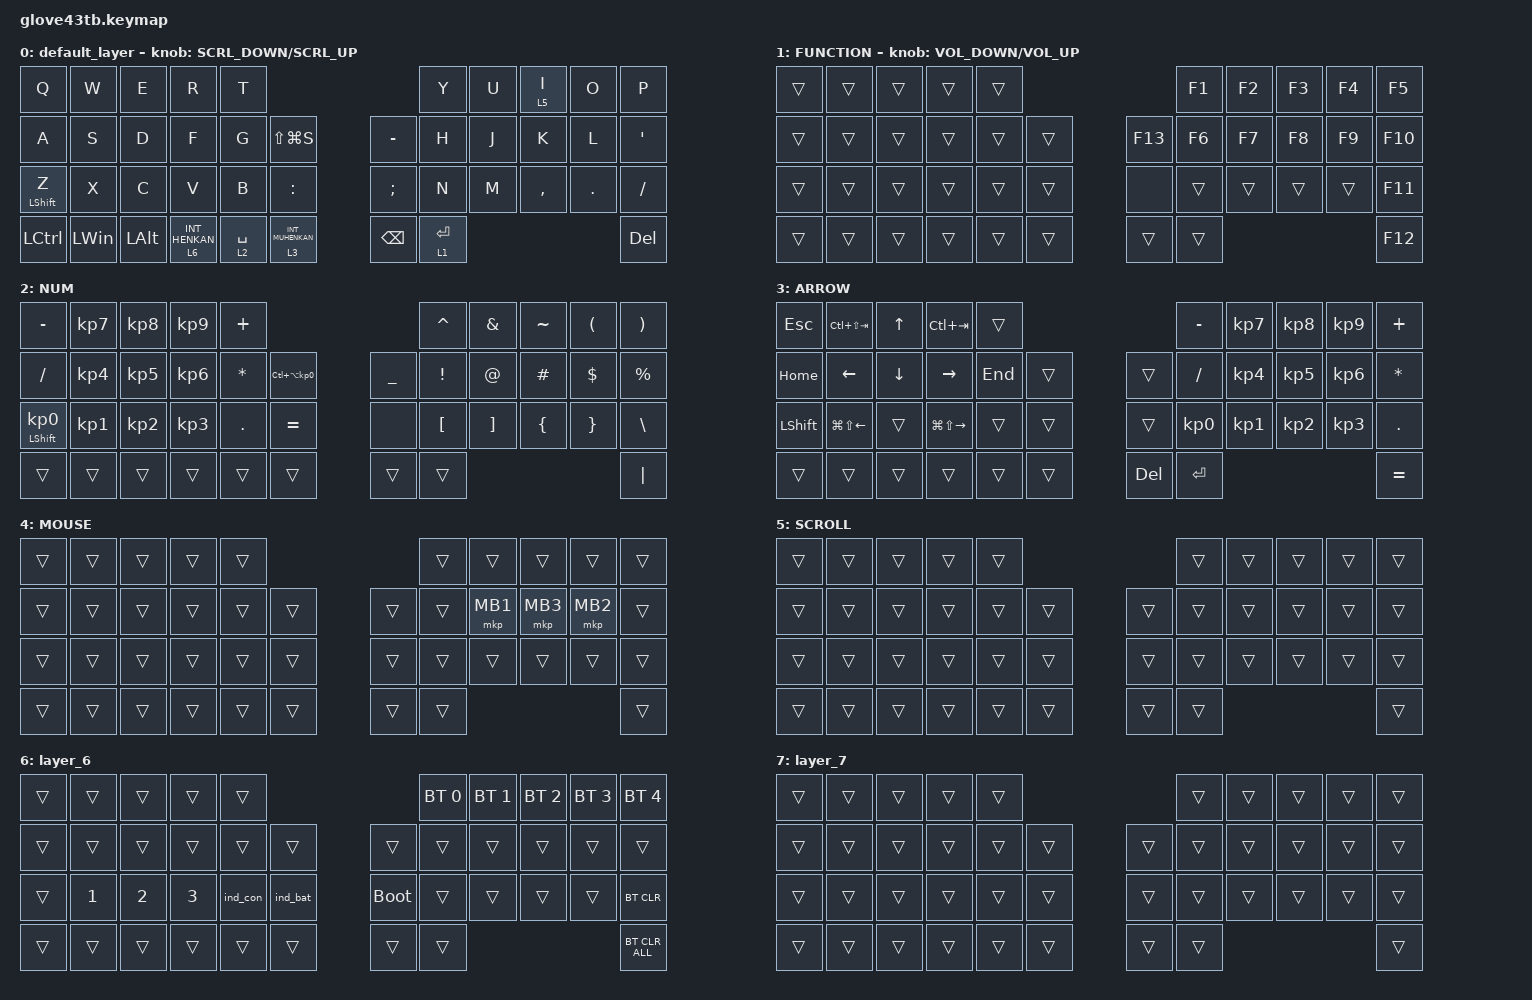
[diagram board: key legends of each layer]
#define ZMK_POINTING_DEFAULT_SCRL_VAL 150

#include <behaviors/rgbled_widget.dtsi>
#include <dt-bindings/zmk/input_transform.h>
#include <input/processors.dtsi>
#include <zephyr/dt-bindings/input/input-event-codes.h>
#include <behaviors.dtsi>
#include <dt-bindings/zmk/bt.h>
#include <dt-bindings/zmk/keys.h>
#include <dt-bindings/zmk/pointing.h>

&mt {
    flavor = "balanced";
    quick-tap-ms = <0>;
};

&trackball {
    automouse-layer = <4>;
    scroll-layers = <5>;

    // arrows {
    //     layers = <3>;
    //     bindings =
    //         <&kp RIGHT_ARROW>,
    //         <&kp LEFT_ARROW>,
    //         <&kp UP_ARROW>,
    //         <&kp DOWN_ARROW>;
    //     tick = <10>;
    //     wait-ms = <5>;
    //     tap-ms = <5>;
    // };
};

&mmv {
    delay-ms = <20>;
    trigger-period-ms = <5>;
    time-to-max-speed-ms = <100>;
    acceleration-exponent = <2>;
};

&msc {
    delay-ms = <3>;
    trigger-period-ms = <3>;
    time-to-max-speed-ms = <100>;
    acceleration-exponent = <0>;
};

/ {
    input_processors {
        zip_wheel_scaler: zip_wheel_scaler {
            compatible = "zmk,input-processor-scaler";
            #input-processor-cells = <2>;
            type = <INPUT_EV_REL>;
            codes = <INPUT_REL_WHEEL>;
            track-remainders;
        };
    };
};

/ {
    combos {
        compatible = "zmk,combos";

        tab {
            bindings = <&kp TAB>;
            key-positions = <11 12>;
        };

        shift_tab {
            bindings = <&kp LS(TAB)>;
            key-positions = <12 13>;
        };

        muhennkann {
            bindings = <&to_layer_0 INT_MUHENKAN>;
            key-positions = <11 10>;
        };

        double_quotation {
            bindings = <&kp DOUBLE_QUOTES>;
            key-positions = <20 21>;
        };

        eq {
            bindings = <&kp EQUAL>;
            key-positions = <24 25>;
        };
    };

    macros {
        to_layer_0: to_layer_0 {
            compatible = "zmk,behavior-macro-one-param";
            #binding-cells = <1>;
            bindings = <&to 0 &macro_param_1to1 &kp MACRO_PLACEHOLDER>;
            label = "TO_LAYER_0";
        };
    };

    behaviors {
        lt_to_layer_0: lt_to_layer_0 {
            compatible = "zmk,behavior-hold-tap";
            label = "LAYER_TAP_TO_0";
            bindings = <&mo>, <&to_layer_0>;

            #binding-cells = <2>;
            tapping-term-ms = <200>;
        };

        sensor_rotate_kp: sensor_rotate_kp {
            compatible = "zmk,behavior-sensor-rotate-var";
            #sensor-binding-cells = <2>;
            bindings = <&kp>, <&kp>;
        };

        mouse_wheel_scroll: mouse_wheel_scroll {
            compatible = "zmk,behavior-sensor-rotate-var";
            #sensor-binding-cells = <2>;
            bindings = <&msc>, <&msc>;

            tap-ms = <20>;
        };
    };

    keymap {
        compatible = "zmk,keymap";

        default_layer {
            bindings = <
&kp Q             &kp W         &kp E         &kp R                        &kp T                                                          &kp Y        &kp U  &lt 5 I    &kp O    &kp P
&kp A             &kp S         &kp D         &kp F                        &kp G        &kp LS(LG(S))                      &kp MINUS      &kp H        &kp J  &kp K      &kp L    &kp SQT
&mt LEFT_SHIFT Z  &kp X         &kp C         &kp V                        &kp B        &kp COLON                          &kp SEMICOLON  &kp N        &kp M  &kp COMMA  &kp DOT  &kp SLASH
&kp LCTRL         &kp LEFT_WIN  &kp LEFT_ALT  &lt_to_layer_0 6 INT_HENKAN  &lt 2 SPACE  &lt_to_layer_0 3 INT_MUHENKAN      &kp BACKSPACE  &lt 1 ENTER                             &kp DEL
            >;

            sensor-bindings = <&mouse_wheel_scroll SCRL_DOWN SCRL_UP>;
        };

        FUNCTION {
            bindings = <
&trans  &trans  &trans  &trans  &trans                       &kp F1  &kp F2  &kp F3  &kp F4  &kp F5
&trans  &trans  &trans  &trans  &trans  &trans      &kp F13  &kp F6  &kp F7  &kp F8  &kp F9  &kp F10
&trans  &trans  &trans  &trans  &trans  &trans      &none    &trans  &trans  &trans  &trans  &kp F11
&trans  &trans  &trans  &trans  &trans  &trans      &trans   &trans                          &kp F12
            >;

            sensor-bindings = <&sensor_rotate_kp C_VOLUME_DOWN C_VOLUME_UP>;
        };

        NUM {
            bindings = <
&kp MINUS                   &kp KP_NUMBER_7  &kp KP_NUMBER_8  &kp KP_NUMBER_9  &kp PLUS                                                   &kp CARET         &kp AMPERSAND      &kp TILDE       &kp LEFT_PARENTHESIS  &kp RIGHT_PARENTHESIS
&kp SLASH                   &kp KP_NUMBER_4  &kp KP_NUMBER_5  &kp KP_NUMBER_6  &kp ASTERISK  &kp LC(LA(KP_NUMBER_0))      &kp UNDERSCORE  &kp EXCLAMATION   &kp AT_SIGN        &kp HASH        &kp DOLLAR            &kp PERCENT
&mt LEFT_SHIFT KP_NUMBER_0  &kp KP_NUMBER_1  &kp KP_NUMBER_2  &kp KP_NUMBER_3  &kp PERIOD    &kp EQUAL                    &none           &kp LEFT_BRACKET  &kp RIGHT_BRACKET  &kp LEFT_BRACE  &kp RIGHT_BRACE       &kp BACKSLASH
&trans                      &trans           &trans           &trans           &trans        &trans                       &trans          &trans                                                                     &kp PIPE
            >;
        };

        ARROW {
            bindings = <
&kp ESCAPE      &kp LC(LS(TAB))         &kp UP_ARROW    &kp LC(TAB)              &trans                        &kp MINUS        &kp KP_NUMBER_7  &kp KP_NUMBER_8  &kp KP_NUMBER_9  &kp PLUS
&kp HOME        &kp LEFT_ARROW          &kp DOWN_ARROW  &kp RIGHT_ARROW          &kp END  &trans      &trans   &kp SLASH        &kp KP_NUMBER_4  &kp KP_NUMBER_5  &kp KP_N6        &kp ASTERISK
&kp LEFT_SHIFT  &kp LG(LS(LEFT_ARROW))  &trans          &kp LG(LS(RIGHT_ARROW))  &trans   &trans      &trans   &kp KP_NUMBER_0  &kp KP_NUMBER_1  &kp KP_NUMBER_2  &kp KP_NUMBER_3  &kp PERIOD
&trans          &trans                  &trans          &trans                   &trans   &trans      &kp DEL  &kp ENTER                                                           &kp EQUAL
            >;
        };

        MOUSE {
            bindings = <
&trans  &trans  &trans  &trans  &trans                      &trans  &trans    &trans    &trans    &trans
&trans  &trans  &trans  &trans  &trans  &trans      &trans  &trans  &mkp MB1  &mkp MB3  &mkp MB2  &trans
&trans  &trans  &trans  &trans  &trans  &trans      &trans  &trans  &trans    &trans    &trans    &trans
&trans  &trans  &trans  &trans  &trans  &trans      &trans  &trans                                &trans
            >;
        };

        SCROLL {
            bindings = <
&trans  &trans  &trans  &trans  &trans                      &trans  &trans  &trans  &trans  &trans
&trans  &trans  &trans  &trans  &trans  &trans      &trans  &trans  &trans  &trans  &trans  &trans
&trans  &trans  &trans  &trans  &trans  &trans      &trans  &trans  &trans  &trans  &trans  &trans
&trans  &trans  &trans  &trans  &trans  &trans      &trans  &trans                          &trans
            >;
        };

        layer_6 {
            bindings = <
&trans  &trans        &trans        &trans        &trans                               &bt BT_SEL 0  &bt BT_SEL 1  &bt BT_SEL 2  &bt BT_SEL 3  &bt BT_SEL 4
&trans  &trans        &trans        &trans        &trans    &trans        &trans       &trans        &trans        &trans        &trans        &trans
&trans  &kp NUMBER_1  &kp NUMBER_2  &kp NUMBER_3  &ind_con  &ind_bat      &bootloader  &trans        &trans        &trans        &trans        &bt BT_CLR
&trans  &trans        &trans        &trans        &trans    &trans        &trans       &trans                                                  &bt BT_CLR_ALL
            >;
        };

        layer_7 {
            bindings = <
&trans  &trans  &trans  &trans  &trans                      &trans  &trans  &trans  &trans  &trans
&trans  &trans  &trans  &trans  &trans  &trans      &trans  &trans  &trans  &trans  &trans  &trans
&trans  &trans  &trans  &trans  &trans  &trans      &trans  &trans  &trans  &trans  &trans  &trans
&trans  &trans  &trans  &trans  &trans  &trans      &trans  &trans                          &trans
            >;
        };
    };
};
